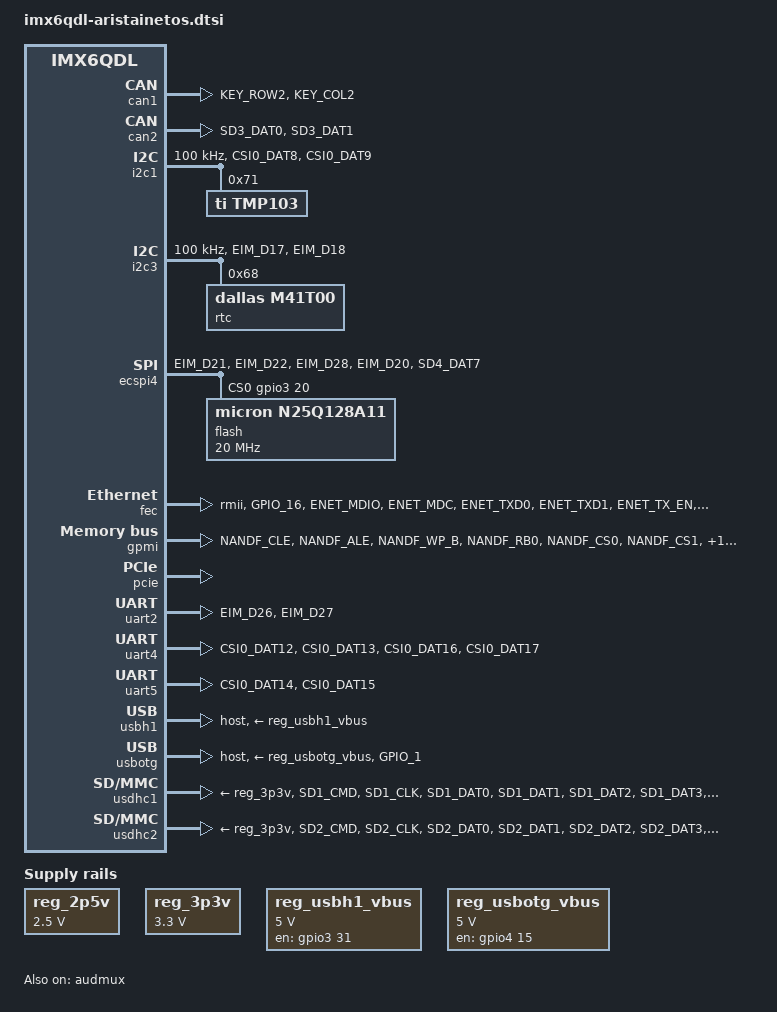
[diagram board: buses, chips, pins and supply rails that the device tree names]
/*
 * support fot the imx6 based aristainetos board
 *
 * Copyright (C) 2014 Heiko Schocher <hs@denx.de>
 *
 * This program is free software; you can redistribute it and/or modify
 * it under the terms of the GNU General Public License version 2 as
 * published by the Free Software Foundation.
 *
 */

#include <dt-bindings/gpio/gpio.h>

/ {

	reg_2p5v: regulator-2p5v {
		compatible = "regulator-fixed";
		regulator-name = "2P5V";
		regulator-min-microvolt = <2500000>;
		regulator-max-microvolt = <2500000>;
		regulator-always-on;
	};

	reg_3p3v: regulator-3p3v {
		compatible = "regulator-fixed";
		regulator-name = "3P3V";
		regulator-min-microvolt = <3300000>;
		regulator-max-microvolt = <3300000>;
		regulator-always-on;
	};

	reg_usbh1_vbus: regulator-usbh1-vbus {
		compatible = "regulator-fixed";
		enable-active-high;
		gpio = <&gpio3 31 GPIO_ACTIVE_HIGH>;
		pinctrl-names = "default";
		pinctrl-0 = <&pinctrl_aristainetos_usbh1_vbus>;
		regulator-name = "usb_h1_vbus";
		regulator-min-microvolt = <5000000>;
		regulator-max-microvolt = <5000000>;
	};

	reg_usbotg_vbus: regulator-usbotg-vbus {
		compatible = "regulator-fixed";
		enable-active-high;
		gpio = <&gpio4 15 GPIO_ACTIVE_HIGH>;
		pinctrl-names = "default";
		pinctrl-0 = <&pinctrl_aristainetos_usbotg_vbus>;
		regulator-name = "usb_otg_vbus";
		regulator-min-microvolt = <5000000>;
		regulator-max-microvolt = <5000000>;
	};
};

&audmux {
	pinctrl-names = "default";
	pinctrl-0 = <&pinctrl_audmux>;
	status = "okay";
};

&can1 {
	pinctrl-names = "default";
	pinctrl-0 = <&pinctrl_flexcan1>;
	status = "okay";
};

&can2 {
	pinctrl-names = "default";
	pinctrl-0 = <&pinctrl_flexcan2>;
	status = "okay";
};

&i2c1 {
	clock-frequency = <100000>;
	pinctrl-names = "default";
	pinctrl-0 = <&pinctrl_i2c1>;
	status = "okay";

	tmp103: tmp103@71 {
		compatible = "ti,tmp103";
		reg = <0x71>;
	};
};

&i2c3 {
	clock-frequency = <100000>;
	pinctrl-names = "default";
	pinctrl-0 = <&pinctrl_i2c3>;
	status = "okay";

	rtc@68 {
		compatible = "dallas,m41t00";
		reg = <0x68>;
	};
};

&ecspi4 {
	cs-gpios = <&gpio3 20 0>;
	pinctrl-names = "default";
	pinctrl-0 = <&pinctrl_ecspi4>;
	status = "okay";

	flash: m25p80@0 {
		#address-cells = <1>;
		#size-cells = <1>;
		compatible = "micron,n25q128a11", "jedec,spi-nor";
		spi-max-frequency = <20000000>;
		reg = <0>;
	};
};

&fec {
	pinctrl-names = "default";
	pinctrl-0 = <&pinctrl_enet>;
	phy-mode = "rmii";
	phy-reset-gpios = <&gpio3 29 GPIO_ACTIVE_LOW>;
	status = "okay";
};

&gpmi {
	pinctrl-names = "default";
	pinctrl-0 = <&pinctrl_gpmi_nand>;
	status = "okay";
};

&pcie {
	status = "okay";
};

&uart2 {
	pinctrl-names = "default";
	pinctrl-0 = <&pinctrl_uart2>;
	status = "okay";
};


&uart4 {
	pinctrl-names = "default";
	pinctrl-0 = <&pinctrl_uart4>;
	uart-has-rtscts;
	status = "okay";
};

&uart5 {
	pinctrl-names = "default";
	pinctrl-0 = <&pinctrl_uart5>;
	uart-has-rtscts;
	status = "okay";
};

&usbh1 {
	vbus-supply = <&reg_usbh1_vbus>;
	dr_mode = "host";
	status = "okay";
};

&usbotg {
	vbus-supply = <&reg_usbotg_vbus>;
	pinctrl-names = "default";
	pinctrl-0 = <&pinctrl_usbotg>;
	disable-over-current;
	dr_mode = "host";
	status = "okay";
};

&usdhc1 {
	pinctrl-names = "default";
	pinctrl-0 = <&pinctrl_usdhc1>;
	vmmc-supply = <&reg_3p3v>;
	cd-gpios = <&gpio4 7 GPIO_ACTIVE_LOW>;
	status = "okay";
};

&usdhc2 {
	pinctrl-names = "default";
	pinctrl-0 = <&pinctrl_usdhc2>;
	vmmc-supply = <&reg_3p3v>;
	cd-gpios = <&gpio4 8 GPIO_ACTIVE_LOW>;
	status = "okay";
};

&iomuxc {
	pinctrl-names = "default";
	pinctrl-0 = <&pinctrl_hog &pinctrl_gpio>;

	imx6qdl-aristainetos {
		pinctrl_aristainetos_usbh1_vbus: aristainetos-usbh1-vbus {
			fsl,pins = <MX6QDL_PAD_EIM_D31__GPIO3_IO31 0x130b0>;
		};

		pinctrl_aristainetos_usbotg_vbus: aristainetos-usbotg-vbus {
			fsl,pins = <MX6QDL_PAD_KEY_ROW4__GPIO4_IO15 0x130b0>;
		};

		pinctrl_audmux: audmuxgrp {
			fsl,pins = <
				MX6QDL_PAD_CSI0_DAT7__AUD3_RXD  0x1b0b0
				MX6QDL_PAD_CSI0_DAT4__AUD3_TXC  0x1b0b0
				MX6QDL_PAD_CSI0_DAT5__AUD3_TXD  0x1b0b0
				MX6QDL_PAD_CSI0_DAT6__AUD3_TXFS 0x1b0b0
			>;
		};

		pinctrl_backlight: backlightgrp {
			fsl,pins = <
				MX6QDL_PAD_GPIO_9__PWM1_OUT	0x1b0b0
				MX6QDL_PAD_SD4_DAT1__PWM3_OUT	0x1b0b0
				MX6QDL_PAD_GPIO_2__GPIO1_IO02	0x1b0b0
			>;
		};

		pinctrl_ecspi2: ecspi2grp {
			fsl,pins = <
				MX6QDL_PAD_EIM_OE__ECSPI2_MISO 0x100b1
				MX6QDL_PAD_EIM_CS0__ECSPI2_SCLK 0x100b1
				MX6QDL_PAD_EIM_CS1__ECSPI2_MOSI 0x100b1
				MX6QDL_PAD_EIM_D24__GPIO3_IO24  0x100b1
			>;
		};

		pinctrl_ecspi4: ecspi4grp {
			fsl,pins = <
				MX6QDL_PAD_EIM_D21__ECSPI4_SCLK 0x100b1
				MX6QDL_PAD_EIM_D22__ECSPI4_MISO 0x100b1
				MX6QDL_PAD_EIM_D28__ECSPI4_MOSI 0x100b1
				MX6QDL_PAD_EIM_D20__GPIO3_IO20  0x100b1
				MX6QDL_PAD_SD4_DAT7__GPIO2_IO15 0x1b0b0 /* WP pin */
			>;
		};

		pinctrl_enet: enetgrp {
			fsl,pins = <
				MX6QDL_PAD_GPIO_16__ENET_REF_CLK 0x4001b0a8
				MX6QDL_PAD_ENET_MDIO__ENET_MDIO  0x1b0b0
				MX6QDL_PAD_ENET_MDC__ENET_MDC    0x1b0b0
				MX6QDL_PAD_ENET_TXD0__ENET_TX_DATA0 0x1b0b0
				MX6QDL_PAD_ENET_TXD1__ENET_TX_DATA1 0x1b0b0
				MX6QDL_PAD_ENET_TX_EN__ENET_TX_EN   0x1b0b0
				MX6QDL_PAD_ENET_RX_ER__ENET_RX_ER   0x1b0b0
				MX6QDL_PAD_ENET_RXD0__ENET_RX_DATA0 0x1b0b0
				MX6QDL_PAD_ENET_RXD1__ENET_RX_DATA1 0x1b0b0
				MX6QDL_PAD_ENET_CRS_DV__ENET_RX_EN  0x1b0b0
			>;
		};

		pinctrl_flexcan1: flexcan1grp {
			fsl,pins = <
				MX6QDL_PAD_KEY_ROW2__FLEXCAN1_RX	0x1b0b0
				MX6QDL_PAD_KEY_COL2__FLEXCAN1_TX	0x1b0b0
			>;
		};

		pinctrl_flexcan2: flexcan2grp {
			fsl,pins = <
				MX6QDL_PAD_SD3_DAT0__FLEXCAN2_TX	0x1b0b0
				MX6QDL_PAD_SD3_DAT1__FLEXCAN2_RX	0x1b0b0
				>;
		};

		pinctrl_gpio: gpiogrp {
			fsl,pins = <
				MX6QDL_PAD_SD4_DAT2__GPIO2_IO10	0x1b0b0
				MX6QDL_PAD_SD4_DAT3__GPIO2_IO11	0x1b0b0
				MX6QDL_PAD_SD4_DAT4__GPIO2_IO12 0x1b0b0
				MX6QDL_PAD_SD4_DAT5__GPIO2_IO13	0x1b0b0
				MX6QDL_PAD_GPIO_3__GPIO1_IO03	0x1b0b0
				MX6QDL_PAD_GPIO_4__GPIO1_IO04	0x1b0b0
				MX6QDL_PAD_GPIO_5__GPIO1_IO05	0x1b0b0
				MX6QDL_PAD_GPIO_6__GPIO1_IO06	0x1b0b0
				MX6QDL_PAD_GPIO_7__GPIO1_IO07	0x1b0b0
				MX6QDL_PAD_GPIO_8__GPIO1_IO08	0x1b0b0
				MX6QDL_PAD_KEY_COL0__GPIO4_IO06	0x1b0b0
			>;
		};

		pinctrl_gpmi_nand: gpminandgrp {
			fsl,pins = <
				MX6QDL_PAD_NANDF_CLE__NAND_CLE     0xb0b1
				MX6QDL_PAD_NANDF_ALE__NAND_ALE     0xb0b1
				MX6QDL_PAD_NANDF_WP_B__NAND_WP_B   0xb0b1
				MX6QDL_PAD_NANDF_RB0__NAND_READY_B 0xb000
				MX6QDL_PAD_NANDF_CS0__NAND_CE0_B   0xb0b1
				MX6QDL_PAD_NANDF_CS1__NAND_CE1_B   0xb0b1
				MX6QDL_PAD_SD4_CMD__NAND_RE_B      0xb0b1
				MX6QDL_PAD_SD4_CLK__NAND_WE_B      0xb0b1
				MX6QDL_PAD_NANDF_D0__NAND_DATA00   0xb0b1
				MX6QDL_PAD_NANDF_D1__NAND_DATA01   0xb0b1
				MX6QDL_PAD_NANDF_D2__NAND_DATA02   0xb0b1
				MX6QDL_PAD_NANDF_D3__NAND_DATA03   0xb0b1
				MX6QDL_PAD_NANDF_D4__NAND_DATA04   0xb0b1
				MX6QDL_PAD_NANDF_D5__NAND_DATA05   0xb0b1
				MX6QDL_PAD_NANDF_D6__NAND_DATA06   0xb0b1
				MX6QDL_PAD_NANDF_D7__NAND_DATA07   0xb0b1
				MX6QDL_PAD_SD4_DAT0__NAND_DQS      0x00b1
			>;
		};

		pinctrl_hog: hoggrp {
			fsl,pins = <
				MX6QDL_PAD_EIM_D29__GPIO3_IO29   0x10
			>;
		};

		pinctrl_i2c1: i2c1grp {
			fsl,pins = <
				MX6QDL_PAD_CSI0_DAT8__I2C1_SDA 0x4001b8b1
				MX6QDL_PAD_CSI0_DAT9__I2C1_SCL 0x4001b8b1
			>;
		};

		pinctrl_i2c2: i2c2grp {
			fsl,pins = <
				MX6QDL_PAD_KEY_COL3__I2C2_SCL 0x4001b8b1
				MX6QDL_PAD_KEY_ROW3__I2C2_SDA 0x4001b8b1
			>;
		};

		pinctrl_i2c3: i2c3grp {
			fsl,pins = <
				MX6QDL_PAD_EIM_D17__I2C3_SCL 0x4001b8b1
				MX6QDL_PAD_EIM_D18__I2C3_SDA 0x4001b8b1
			>;
		};

		pinctrl_ipu_disp: ipudisp1grp {
			fsl,pins = <
				MX6QDL_PAD_DI0_DISP_CLK__IPU1_DI0_DISP_CLK	0x10
				MX6QDL_PAD_DI0_PIN15__IPU1_DI0_PIN15		0x10
				MX6QDL_PAD_DI0_PIN2__IPU1_DI0_PIN02		0x10
				MX6QDL_PAD_DI0_PIN3__IPU1_DI0_PIN03		0x10
				MX6QDL_PAD_DI0_PIN4__GPIO4_IO20			0x20000
				MX6QDL_PAD_DISP0_DAT0__IPU1_DISP0_DATA00	0x10
				MX6QDL_PAD_DISP0_DAT1__IPU1_DISP0_DATA01	0x10
				MX6QDL_PAD_DISP0_DAT2__IPU1_DISP0_DATA02	0x10
				MX6QDL_PAD_DISP0_DAT3__IPU1_DISP0_DATA03	0x10
				MX6QDL_PAD_DISP0_DAT4__IPU1_DISP0_DATA04	0x10
				MX6QDL_PAD_DISP0_DAT5__IPU1_DISP0_DATA05	0x10
				MX6QDL_PAD_DISP0_DAT6__IPU1_DISP0_DATA06	0x10
				MX6QDL_PAD_DISP0_DAT7__IPU1_DISP0_DATA07	0x10
				MX6QDL_PAD_DISP0_DAT8__IPU1_DISP0_DATA08	0x10
				MX6QDL_PAD_DISP0_DAT9__IPU1_DISP0_DATA09	0x10
				MX6QDL_PAD_DISP0_DAT10__IPU1_DISP0_DATA10	0x10
				MX6QDL_PAD_DISP0_DAT11__IPU1_DISP0_DATA11	0x10
				MX6QDL_PAD_DISP0_DAT12__IPU1_DISP0_DATA12	0x10
				MX6QDL_PAD_DISP0_DAT13__IPU1_DISP0_DATA13	0x10
				MX6QDL_PAD_DISP0_DAT14__IPU1_DISP0_DATA14	0x10
				MX6QDL_PAD_DISP0_DAT15__IPU1_DISP0_DATA15	0x10
				MX6QDL_PAD_DISP0_DAT16__IPU1_DISP0_DATA16	0x10
				MX6QDL_PAD_DISP0_DAT17__IPU1_DISP0_DATA17	0x10
				MX6QDL_PAD_DISP0_DAT18__IPU1_DISP0_DATA18	0x10
				MX6QDL_PAD_DISP0_DAT19__IPU1_DISP0_DATA19	0x10
				MX6QDL_PAD_DISP0_DAT20__IPU1_DISP0_DATA20	0x10
				MX6QDL_PAD_DISP0_DAT21__IPU1_DISP0_DATA21	0x10
				MX6QDL_PAD_DISP0_DAT22__IPU1_DISP0_DATA22	0x10
				MX6QDL_PAD_DISP0_DAT23__IPU1_DISP0_DATA23	0x10
				>;
		};

		pinctrl_uart2: uart2grp {
			fsl,pins = <
				MX6QDL_PAD_EIM_D26__UART2_TX_DATA 0x1b0b1
				MX6QDL_PAD_EIM_D27__UART2_RX_DATA 0x1b0b1
			>;
		};

		pinctrl_uart4: uart4grp {
			fsl,pins = <
				MX6QDL_PAD_CSI0_DAT12__UART4_TX_DATA 0x1b0b1
				MX6QDL_PAD_CSI0_DAT13__UART4_RX_DATA 0x1b0b1
				MX6QDL_PAD_CSI0_DAT16__UART4_RTS_B 0x1b0b1
				MX6QDL_PAD_CSI0_DAT17__UART4_CTS_B 0x1b0b1
			>;
		};

		pinctrl_uart5: uart5grp {
			fsl,pins = <
				MX6QDL_PAD_CSI0_DAT14__UART5_TX_DATA 0x1b0b1
				MX6QDL_PAD_CSI0_DAT15__UART5_RX_DATA 0x1b0b1
			>;
		};

		pinctrl_usbotg: usbotggrp {
			fsl,pins = <
				MX6QDL_PAD_GPIO_1__USB_OTG_ID 0x17059
			>;
		};

		pinctrl_usdhc1: usdhc1grp {
			fsl,pins = <
				MX6QDL_PAD_SD1_CMD__SD1_CMD    0x17059
				MX6QDL_PAD_SD1_CLK__SD1_CLK    0x10059
				MX6QDL_PAD_SD1_DAT0__SD1_DATA0 0x17059
				MX6QDL_PAD_SD1_DAT1__SD1_DATA1 0x17059
				MX6QDL_PAD_SD1_DAT2__SD1_DATA2 0x17059
				MX6QDL_PAD_SD1_DAT3__SD1_DATA3 0x17059
				MX6QDL_PAD_KEY_ROW0__GPIO4_IO07 0x1b0b0
			>;
		};

		pinctrl_usdhc2: usdhc2grp {
			fsl,pins = <
				MX6QDL_PAD_SD2_CMD__SD2_CMD    0x17059
				MX6QDL_PAD_SD2_CLK__SD2_CLK    0x10059
				MX6QDL_PAD_SD2_DAT0__SD2_DATA0 0x17059
				MX6QDL_PAD_SD2_DAT1__SD2_DATA1 0x17059
				MX6QDL_PAD_SD2_DAT2__SD2_DATA2 0x17059
				MX6QDL_PAD_SD2_DAT3__SD2_DATA3 0x17059
				MX6QDL_PAD_KEY_COL1__GPIO4_IO08 0x1b0b0
			>;
		};
	};
};
